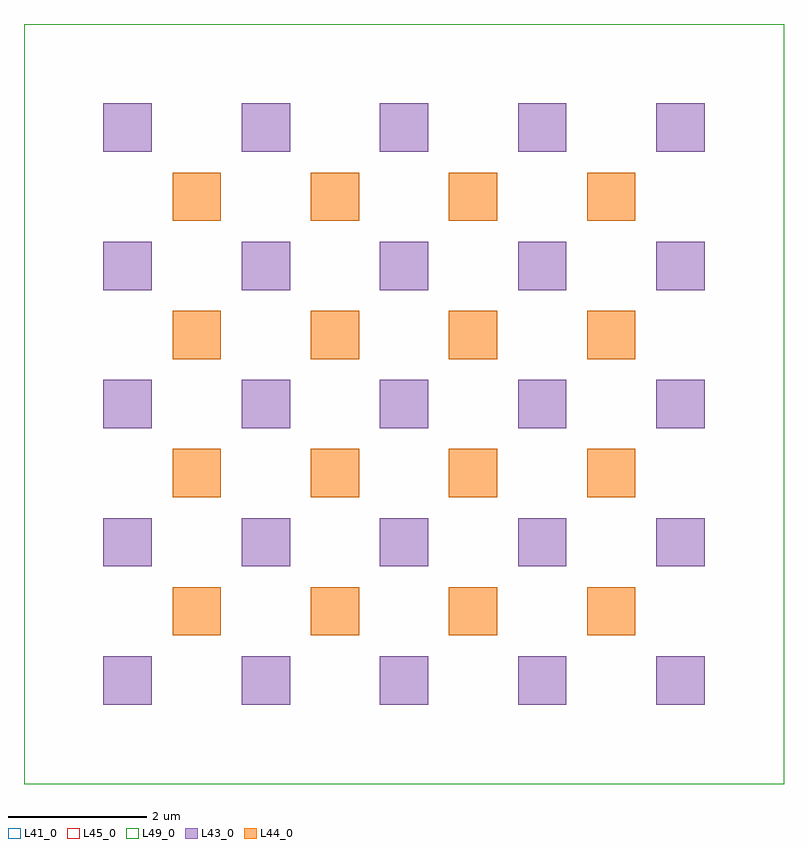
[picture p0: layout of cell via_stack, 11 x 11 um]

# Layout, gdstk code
import gdstk
lib = gdstk.Library(unit=1e-6, precision=1e-09)
def R(c, l, rs):  # rectangles x0, y0, x1, y1
    for r in rs: c.add(gdstk.rectangle(r[:2], r[2:], *l))
L41_0 = (41, 0)
L43_0 = (43, 0)
L44_0 = (44, 0)
L45_0 = (45, 0)
L49_0 = (49, 0)

compass_251aebd9 = lib.new_cell('compass_251aebd9')
R(compass_251aebd9, L41_0, [(-5.5,-5.5,5.5,5.5)])

compass_a8526bc0 = lib.new_cell('compass_a8526bc0')
R(compass_a8526bc0, L45_0, [(-5.5,-5.5,5.5,5.5)])

compass_580ae069 = lib.new_cell('compass_580ae069')
R(compass_580ae069, L49_0, [(-5.5,-5.5,5.5,5.5)])

via_df374226 = lib.new_cell('via_df374226')
R(via_df374226, L44_0, [(-0.35,-0.35,0.35,0.35)])

via_acdc145d = lib.new_cell('via_acdc145d')
R(via_acdc145d, L43_0, [(-0.35,-0.35,0.35,0.35)])

via_stack = lib.new_cell('via_stack')
via_stack.add(gdstk.Reference(compass_251aebd9, (0,0)))
via_stack.add(gdstk.Reference(compass_a8526bc0, (0,0)))
via_stack.add(gdstk.Reference(compass_580ae069, (0,0)))
r = gdstk.Reference(via_df374226, (-3,-3)); r.repetition = gdstk.Repetition(4, 4, v1=(2,0), v2=(0,2)); via_stack.add(r)
r = gdstk.Reference(via_acdc145d, (-4,-4)); r.repetition = gdstk.Repetition(5, 5, v1=(2,0), v2=(0,2)); via_stack.add(r)

lib.write_gds('via_stack.gds')
